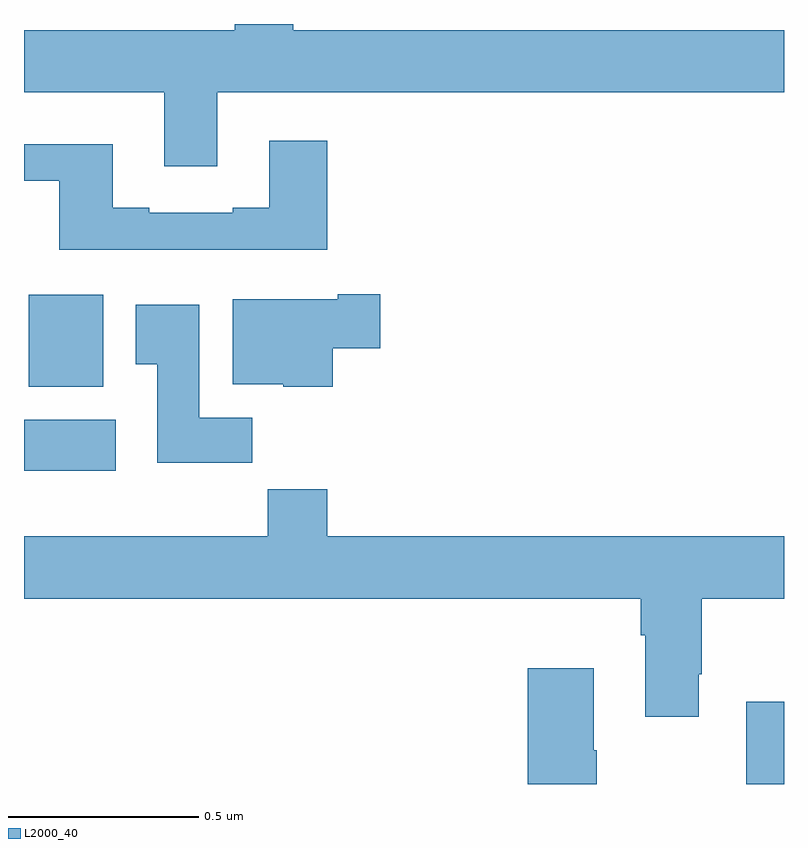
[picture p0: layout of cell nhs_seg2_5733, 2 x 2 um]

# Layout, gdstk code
import gdstk
lib = gdstk.Library(unit=1e-6, precision=1e-09)
def R(c, l, rs):  # rectangles x0, y0, x1, y1
    for r in rs: c.add(gdstk.rectangle(r[:2], r[2:], *l))
def P(c, l, *ps):  # polygons
    for p in ps: c.add(gdstk.Polygon(p, *l))
L2000_40 = (2000, 40)

nhs_seg2_5733 = lib.new_cell('nhs_seg2_5733')
R(nhs_seg2_5733, L2000_40, [(183.9,661.8,184,662.017), (182,662.624,182.242,662.758), (182.012,662.846,182.209,663.088)])
P(nhs_seg2_5733, L2000_40, [(182.509,663.62),(184,663.62),(184,663.784),(182.708,663.784),(182.708,663.8),(182.555,663.8),(182.555,663.784),(182,663.784),(182,663.62),(182.369,663.62),(182.369,663.426),(182.509,663.426)],
  [(182.798,663.493),(182.645,663.493),(182.645,663.316),(182.549,663.316),(182.549,663.303),(182.329,663.303),(182.329,663.316),(182.233,663.316),(182.233,663.484),(182,663.484),(182,663.387),(182.093,663.387),(182.093,663.206),(182.798,663.206)],
  [(182.813,662.947),(182.938,662.947),(182.938,663.089),(182.825,663.089),(182.825,663.076),(182.549,663.076),(182.549,662.852),(182.682,662.852),(182.682,662.846),(182.813,662.846)],
  [(182.6,662.764),(182.461,662.764),(182.461,663.061),(182.294,663.061),(182.294,662.905),(182.351,662.905),(182.351,662.646),(182.6,662.646)],
  [(183.623,662.192),(183.635,662.192),(183.635,661.977),(183.775,661.977),(183.775,662.089),(183.783,662.089),(183.783,662.288),(184,662.288),(184,662.452),(182.798,662.452),(182.798,662.576),(182.641,662.576),(182.641,662.452),(182,662.452),(182,662.288),(183.623,662.288)],
  [(183.507,661.889),(183.499,661.889),(183.499,662.104),(183.326,662.104),(183.326,661.8),(183.507,661.8)])

lib.write_gds('nhs_seg2_5733.gds')
